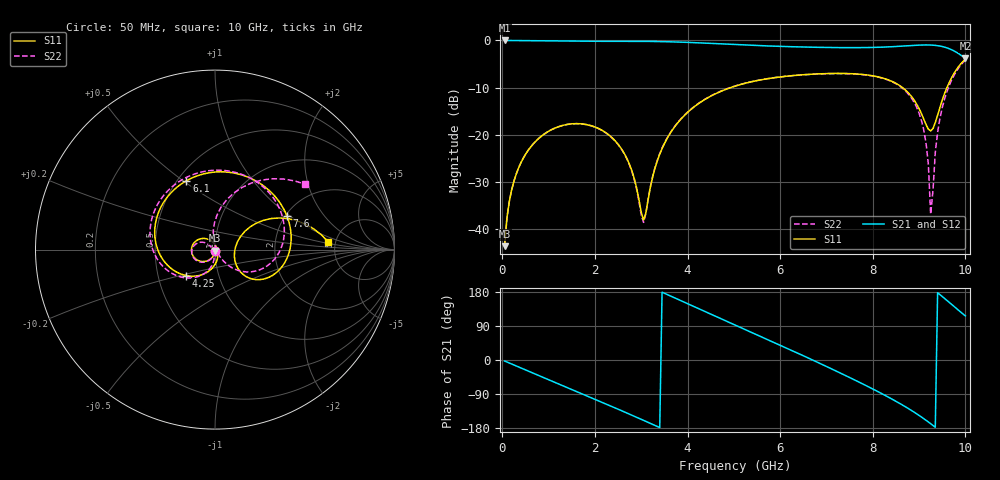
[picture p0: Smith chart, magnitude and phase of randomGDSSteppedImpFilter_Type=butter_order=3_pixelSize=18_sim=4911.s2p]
! freq	dB(S11)	phase(S11)	dB(S12)	phase(S12)
!  dB(S21)	phase(S21)	dB(S22)	phase(S22)
!S-par simulation data
#  GHz  S  DB  R 50
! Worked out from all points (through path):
!   200 points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, 50 MHz to 10 GHz, reference 50 ohm
!   highest |S21| = -0.01 dB at 50 MHz (marker M1); lowest = -3.8 dB at 10 GHz (marker M2)
!   group delay of S21, straight-line fit = 159 ps
!   lowest |S11| = -43.6 dB at 50 MHz (marker M3), VSWR 1.01, Z = 50 - j0.658 ohm
!   |S11| at or under -10 dB: start of sweep to 4.933 GHz; 8.641 GHz to 9.602 GHz (961 MHz wide, 10.5 % of centre)
!   |S22| runs from -43.6 to -4.2 dB; largest |S21 - S12| = 0
!   S11 on the Smith chart (normalised r, x): 50 MHz: 1.00, -0.01; 4.25 GHz: 0.70, -0.21; 6.1 GHz: 0.56, +0.52; 7.6 GHz: 2.03, +0.95; 10 GHz: 4.35, +0.62
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0.05  -43.63 -91.6  -0.01 -2.7  -0.01 -2.7  -43.64 -91.6
0.2  -31.79 -100.6  -0.02 -10.5  -0.02 -10.5  -31.79 -99.9
0.5  -24.18 -117.6  -0.05 -26.1  -0.05 -26.1  -24.18 -115.8
1.15  -18.53 -152.9  -0.13 -59.7  -0.13 -59.7  -18.54 -148.3
1.75  -17.74 174.3  -0.17 -90.6  -0.17 -90.6  -17.75 -177.5
2.6  -23.42 122.5  -0.18 -135.0  -0.18 -135.0  -23.49 145.1
2.85  -29.31 97.8  -0.18 -148.4  -0.18 -148.4  -29.52 142.8
3.05  -38.09 19.4  -0.19 -159.2  -0.19 -159.2  -38.59 -156.2
3.4  -24.12 -80.7  -0.24 -178.3  -0.24 -178.3  -24.01 -96.8
4.25  -13.31 -137.9  -0.51 134.9  -0.51 134.9  -13.26 -133.3
5.05  -9.62 174.4  -0.89 91.1  -0.89 91.1  -9.59 -173.1
6.1  -7.63 112.5  -1.29 33.6  -1.29 33.6  -7.63 133.8
6.7  -7.15 77.1  -1.44 0.0  -1.44 0.0  -7.18 102.2
7.6  -7.08 25.3  -1.53 -52.1  -1.53 -52.1  -7.12 51.4
8.35  -8.42 -16.3  -1.36 -98.8  -1.36 -98.8  -8.48 4.4
8.8  -11.47 -38.0  -1.11 -130.5  -1.11 -130.5  -11.75 -27.4
9.05  -15.51 -39.7  -0.98 -150.4  -0.98 -150.4  -16.95 -46.5
9.2  -18.81 -19.6  -0.96 -163.5  -0.96 -163.5  -26.26 -54.8
9.25  -19.20 -5.9  -0.98 -168.1  -0.98 -168.1  -36.85 -38.6
9.35  -17.43 20.0  -1.05 -177.5  -1.05 -177.5  -23.78 97.9
9.5  -12.67 32.9  -1.29 167.6  -1.29 167.6  -14.27 86.6
10  -3.98 3.8  -3.83 116.3  -3.83 116.3  -4.16 36.0
